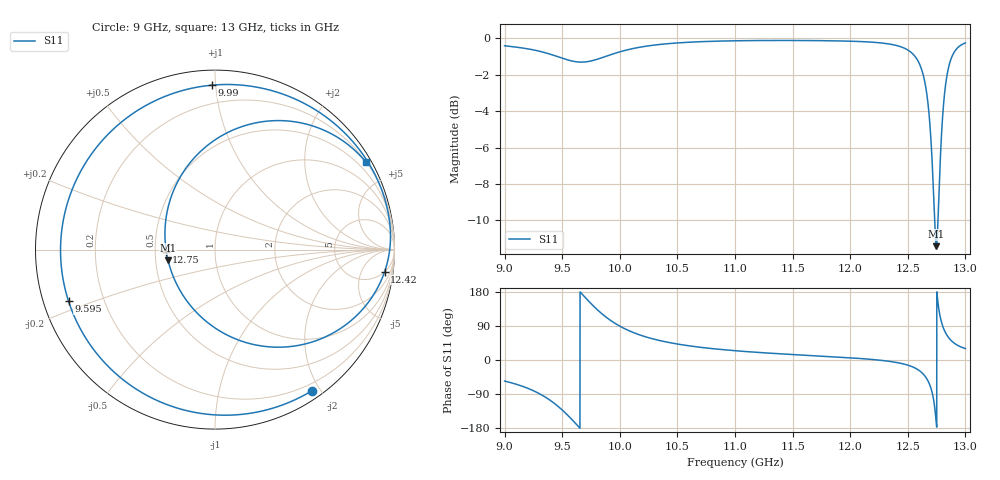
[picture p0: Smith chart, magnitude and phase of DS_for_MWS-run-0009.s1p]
! TOUCHSTONE file generated by CST DESIGN STUDIO
! Date and time: Tue Feb  4 17:42:44 2025
! Project name: C:\Work\MatlabApps\UnitCellOptimizationMatlab\CST\unitcell.cst
! Tree item: Tasks\Sweep1\SPara1\S-Parameters
! Header version: 2024
! Port assignment regex: !\s*Touchstone port\s*([0-9]+)\s*=\s*(CST MWS port|CST DES external port|CST DES block port)\s*(.+)\s* \(\"(.*)\"\)(\s*mode\s*([0-9]+))?.*
! Touchstone port assignment:
! Touchstone port 1 = CST DES external port 1 ("")
# GHz S MA R 50
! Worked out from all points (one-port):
!   4001 points, 9 GHz to 13 GHz, reference 50 ohm
!   lowest |S11| = -11.4 dB at 12.75 GHz (marker M1), VSWR 1.73, Z = 29.1 - j3.68 ohm
!   |S11| at or under -10 dB: 12.73263 GHz to 12.76216 GHz (29.53 MHz wide, 0.232 % of centre)
!   S11 on the Smith chart (normalised r, x): 9 GHz: 0.11, -1.89; 9.595 GHz: 0.07, -0.17; 9.99 GHz: 0.09, +0.98; 12.42 GHz: 5, -14; 12.75 GHz: 0.57, -0.02; 13 GHz: 0.21, +3.70
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9  0.9542 -55.6
9.169  0.9395 -70.9
9.321  0.9189 -92.1
9.416  0.9006 -110.8
9.5  0.8823 -131.9
9.595  0.8652 -160.6
9.693  0.8611 167.1
9.805  0.8764 132.6
9.891  0.8952 110.8
9.99  0.9164 91.0
10  0.9184 89.3
10.219  0.9508 61.6
10.5  0.9717 42.2
11  0.9849 24.5
11.5  0.9869 14.4
12  0.9824 5.8
12.417  0.9532 -7.4
12.5  0.9292 -13.6
12.611  0.8365 -30.5
12.682  0.6316 -59.3
12.715  0.4334 -90.6
12.748  0.2684 -167.4
12.751  0.2712 -177.0
12.77  0.3696 133.0
12.791  0.5315 101.6
12.827  0.7412 72.3
12.898  0.9109 45.6
13  0.9715 30.2
